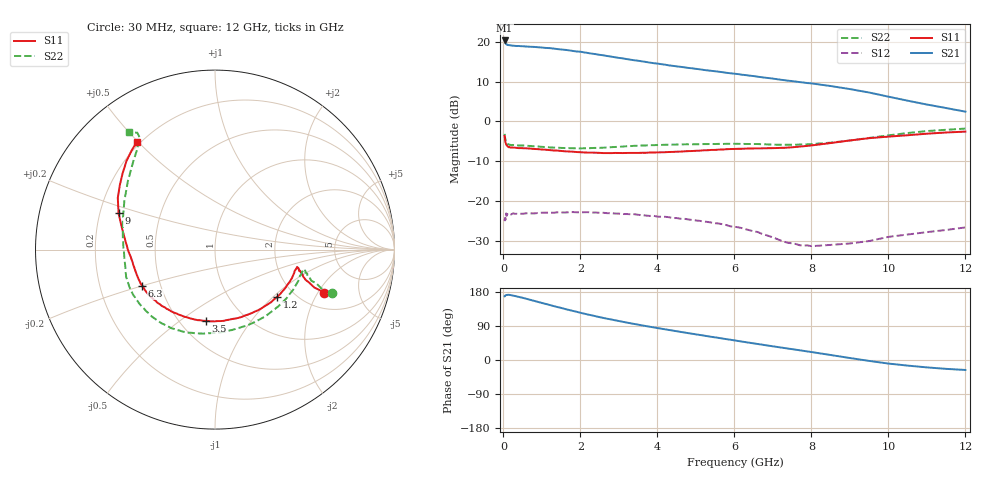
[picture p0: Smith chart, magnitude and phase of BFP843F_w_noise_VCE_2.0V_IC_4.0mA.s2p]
! Infineon Technologies  Discrete & RF Semiconductors
! BFP843F
! VCE =  2.0 V,  IC =  4.0 mA
! Common Emitter S-Parameters:  Aug 2013
# GHz  S  MA  R  50
!  f  S11  S21  S12  S22
! GHz  MAG  ANG  MAG  ANG  MAG  ANG  MAG  ANG
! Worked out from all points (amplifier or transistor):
!   103 points, 30 MHz to 12 GHz, reference 50 ohm
!   highest |S21| = 20.3 dB at 30 MHz (marker M1)
!   |S21| within 3 dB of that: start of sweep to 2.098 GHz
!   unconditionally stable (mu >= 1): 184.2 MHz to 564 MHz; 3.926 GHz to end of sweep
!   at 400 MHz: K = 1.01, MAG = 20.6 dB, |S12| = -23.3 dB
!   at 3.7 GHz: K = 0.99, MSG = 19.3 dB, |S12| = -23.7 dB
!   at 12 GHz: K = 1.49, MAG = 10.4 dB, |S12| = -26.7 dB
!   lowest NFmin = 0.87 dB at 450 MHz
!   S11 on the Smith chart (normalised r, x): 30 MHz: 2.73, -2.28; 1.2 GHz: 1.62, -1.06; 3.5 GHz: 0.67, -0.63; 6.3 GHz: 0.39, -0.20; 9 GHz: 0.28, +0.17; 12 GHz: 0.19, +0.50
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0.03  0.6551 -21.4  10.38 168.0  0.0555 32.9  0.6942 -20.6
0.04  0.593 -20.9  9.938 168.3  0.0605 27.3  0.6295 -20.0
0.05  0.5528 -19.2  9.578 170.4  0.0575 25.1  0.5947 -18.4
0.07  0.513 -16.9  9.32 171.3  0.0695 16.4  0.5489 -16.4
0.1  0.4889 -13.9  9.126 171.7  0.0685 10.9  0.5194 -14.2
0.15  0.4732 -12.4  9.073 171.9  0.0684 7.9  0.5085 -12.6
0.8  0.4487 -25.9  8.612 156.0  0.0694 -0.3  0.4841 -30.9
1.2  0.4342 -37.6  8.318 145.2  0.0711 -2.4  0.4695 -45.4
1.6  0.4193 -49.1  7.918 134.6  0.0713 -4.7  0.461 -60.0
2.1  0.406 -63.1  7.349 122.2  0.0719 -8.7  0.4578 -77.8
2.6  0.3983 -76.0  6.751 110.9  0.0707 -12.4  0.4661 -93.0
3.5  0.4002 -97.1  5.772 93.2  0.0667 -18.2  0.4922 -113.6
4.1  0.4075 -110.4  5.227 82.6  0.0631 -22.4  0.5042 -124.1
5  0.4257 -129.3  4.567 67.7  0.0566 -26.7  0.5148 -138.4
6.1  0.451 -150.0  3.918 50.1  0.0464 -31.7  0.5205 -155.4
6.3  0.4536 -153.6  3.804 47.0  0.0438 -32.9  0.5186 -158.5
7.5  0.4712 -175.1  3.203 28.6  0.0292 -22.2  0.507 -177.2
8.5  0.5328 166.8  2.775 13.2  0.0279 -1.1  0.5387 162.6
9  0.5741 159.4  2.54 5.2  0.0291 7.6  0.5734 151.7
10  0.6415 145.7  2.04 -9.4  0.0352 17.9  0.6652 133.5
10.5  0.6678 140.4  1.816 -14.8  0.0377 20.6  0.712 127.3
12  0.7416 125.8  1.322 -26.3  0.0463 26.7  0.8094 126.1
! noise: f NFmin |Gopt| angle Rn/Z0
0.45  0.87  0.19  11  0.07
0.9  0.87  0.2  21  0.08
1.5  0.95  0.2  27  0.08
1.9  1.01  0.2  42  0.08
2.4  1.04  0.19  56  0.09
3.5  1.12  0.2  83  0.14
5.5  1.25  0.19  144  0.22
10  2.02  0.4  -128  0.24
